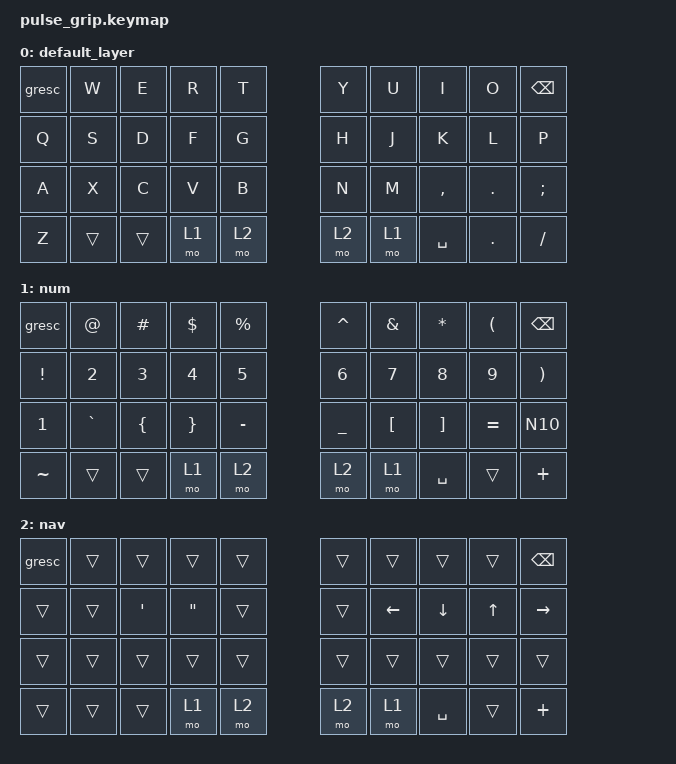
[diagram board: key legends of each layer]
/*
 * Copyright (c) 2021 Nick Winans
 *
 * SPDX-License-Identifier: MIT
 */

#include <behaviors.dtsi>
#include <dt-bindings/zmk/keys.h>
#include <dt-bindings/zmk/rgb.h>
#include <dt-bindings/zmk/bt.h>

/ {
    keymap {
        compatible = "zmk,keymap";

        default_layer {
            bindings = <
    &gresc  &kp W  &kp E  &kp R  &kp T          &kp Y  &kp U  &kp I     &kp O    &kp BSPC
    &kp Q   &kp S  &kp D  &kp F  &kp G          &kp H  &kp J  &kp K     &kp L    &kp P            
    &kp A   &kp X  &kp C  &kp V  &kp B          &kp N  &kp M  &kp COMMA &kp DOT  &kp SEMI
    &kp Z   &trans &trans &mo 1  &mo 2          &mo 2  &mo 1  &kp SPACE &kp DOT &kp FSLH
            >;
        };
        num {
            bindings = <
    &gresc     &kp AT     &kp POUND  &kp DLLR  &kp PRCNT          &kp CARET  &kp AMPS  &kp STAR   &kp LPAR   &kp BSPC
    &kp EXCL   &kp N2     &kp N3     &kp N4    &kp N5             &kp N6     &kp N7    &kp N8     &kp N9     &kp RPAR 
    &kp N1     &kp GRAVE  &kp LBRC   &kp RBRC  &kp MINUS          &kp UNDER  &kp LBKT  &kp RBKT   &kp EQUAL  &kp N10 
    &kp TILDE  &trans     &trans     &mo 1     &mo 2              &mo 2      &mo 1     &kp SPACE  &trans     &kp PLUS
            >;
        };
        nav {
            bindings = <
    &gresc  &trans  &trans    &trans   &trans          &trans  &trans    &trans     &trans  &kp BSPC
    &trans  &trans  &kp APOS  &kp DQT  &trans          &trans  &kp LEFT  &kp DOWN   &kp UP  &kp RIGHT 
    &trans  &trans  &trans    &trans   &trans          &trans  &trans    &trans     &trans  &trans
    &trans  &trans  &trans    &mo 1    &mo 2           &mo 2   &mo 1     &kp SPACE  &trans  &kp PLUS
            >;
        };
    };
};
